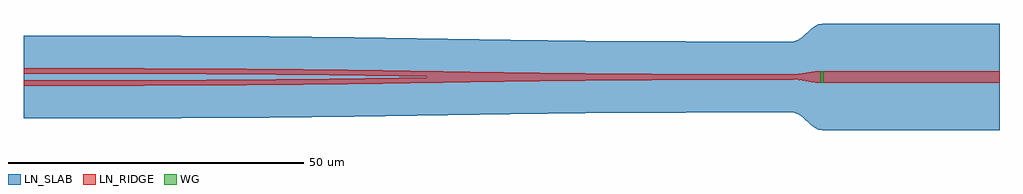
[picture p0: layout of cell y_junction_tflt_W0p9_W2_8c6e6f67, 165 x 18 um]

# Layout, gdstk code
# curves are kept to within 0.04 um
from math import pi, radians
import gdstk
lib = gdstk.Library(unit=1e-6, precision=1e-09)
def R(c, l, rs):  # rectangles x0, y0, x1, y1
    for r in rs: c.add(gdstk.rectangle(r[:2], r[2:], *l))
def P(c, l, *ps):  # polygons
    for p in ps: c.add(gdstk.Polygon(p, *l))
WG = (1, 0)
LN_RIDGE = (2, 0)
LN_SLAB = (3, 0)

taper_cross_section_csx_ = lib.new_cell('taper_cross_section_CSx_27b6c85e')
P(taper_cross_section_csx_, LN_RIDGE, [(4.949,-1),(3.687,-0.912),(1.111,-0.514),(0,-0.45),(0,0.45),(1.111,0.514),(3.687,0.912),(5,1),(5,-1)])
P(taper_cross_section_csx_, LN_SLAB, [(5,-9),(4.394,-8.893),(3.737,-8.552),(3.131,-8.08),(1.768,-6.834),(1.111,-6.351),(0.556,-6.09),(0,-6),(0,6),(0.556,6.09),(1.111,6.351),(1.768,6.834),(3.131,8.08),(3.737,8.552),(4.394,8.893),(5,9)])

straight_stem_l30_wu2 = lib.new_cell('straight_stem_L30_WU2')
R(straight_stem_l30_wu2, LN_RIDGE, [(0,-1,30,1)])
R(straight_stem_l30_wu2, LN_SLAB, [(0,-9,30,9)])

rectangle_s0p6_2_l1_0_c_ = lib.new_cell('rectangle_S0p6_2_L1_0_C_344bdb50')
R(rectangle_s0p6_2_l1_0_c_, WG, [(0,0,0.6,2)])

bend_s_s120_m1_n99_csxs_ = lib.new_cell('bend_s_S120_m1_N99_CSxs_88e2fef8')
P(bend_s_s120_m1_n99_csxs_, LN_RIDGE, [(118.182,-1.45),(100.436,-1.409),(83.799,-1.288),(31.483,-0.568),(0,-0.45),(0,0.45),(31.491,0.332),(83.808,-0.388),(100.44,-0.509),(120,-0.55),(120,-1.45)])
P(bend_s_s120_m1_n99_csxs_, LN_SLAB, [(120,-7),(88.462,-6.882),(34.99,-6.15),(18.081,-6.035),(0,-6),(0,6),(31.538,5.882),(85.01,5.15),(101.919,5.035),(120,5)])

s_bend_to_center_s2_lm12 = lib.new_cell('s_bend_to_center_S2_LM120_WU0p9')
s_bend_to_center_s2_lm12.add(gdstk.Reference(bend_s_s120_m1_n99_csxs_, (0,0)))

straight_input_l10_wu0p9 = lib.new_cell('straight_input_L10_WU0p9')
R(straight_input_l10_wu0p9, LN_RIDGE, [(0,-0.45,10,0.45)])
R(straight_input_l10_wu0p9, LN_SLAB, [(0,-6,10,6)])

y_junction_tflt_w0p9_w2_ = lib.new_cell('y_junction_tflt_W0p9_W2_8c6e6f67')
y_junction_tflt_w0p9_w2_.add(gdstk.Reference(taper_cross_section_csx_, (130,0)))
y_junction_tflt_w0p9_w2_.add(gdstk.Reference(straight_stem_l30_wu2, (135,0)))
y_junction_tflt_w0p9_w2_.add(gdstk.Reference(rectangle_s0p6_2_l1_0_c_, (134.7,-1)))
y_junction_tflt_w0p9_w2_.add(gdstk.Reference(s_bend_to_center_s2_lm12, (130,0), rotation=pi, x_reflection=True))
y_junction_tflt_w0p9_w2_.add(gdstk.Reference(s_bend_to_center_s2_lm12, (10,1)))
y_junction_tflt_w0p9_w2_.add(gdstk.Reference(straight_input_l10_wu0p9, (0,-1)))
y_junction_tflt_w0p9_w2_.add(gdstk.Reference(straight_input_l10_wu0p9, (0,1)))

lib.write_gds('y_junction_tflt_W0p9_W2_8c6e6f67.gds')
